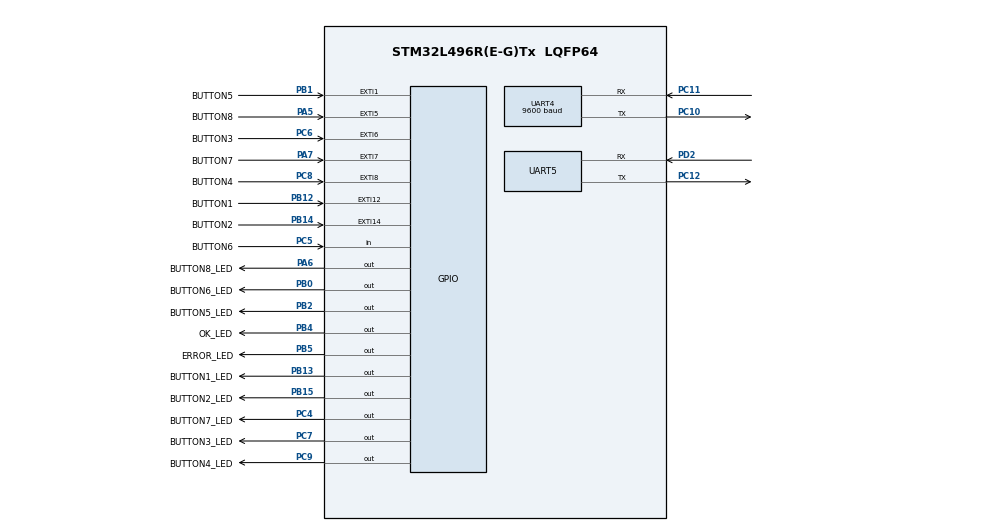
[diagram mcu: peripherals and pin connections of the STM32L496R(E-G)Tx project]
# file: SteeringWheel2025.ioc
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Mcu.Family=STM32L4
Mcu.Name=STM32L496R(E-G)Tx
Mcu.Package=LQFP64
NVIC.EXTI15_10_IRQn=true\:0\:0\:false\:false\:true\:true\:true\:true
NVIC.EXTI1_IRQn=true\:0\:0\:false\:false\:true\:true\:true\:true
NVIC.EXTI9_5_IRQn=true\:0\:0\:false\:false\:true\:true\:true\:true
NVIC.PriorityGroup=NVIC_PRIORITYGROUP_4
PA13\ (JTMS/SWDIO).Mode=Serial_Wire
PA13\ (JTMS/SWDIO).Signal=SYS_JTMS-SWDIO
PA14\ (JTCK/SWCLK).Mode=Serial_Wire
PA14\ (JTCK/SWCLK).Signal=SYS_JTCK-SWCLK
PA5.GPIO_Label=BUTTON8
PA5.GPIO_ModeDefaultEXTI=GPIO_MODE_IT_FALLING
PA5.Signal=GPXTI5
PA6.GPIO_Label=BUTTON8_LED
PA6.Signal=GPIO_Output
PA7.GPIO_Label=BUTTON7
PA7.GPIO_ModeDefaultEXTI=GPIO_MODE_IT_FALLING
PA7.Signal=GPXTI7
PB0.GPIO_Label=BUTTON6_LED
PB0.Signal=GPIO_Output
PB1.GPIO_Label=BUTTON5
PB1.GPIO_ModeDefaultEXTI=GPIO_MODE_IT_FALLING
PB1.Signal=GPXTI1
PB12.GPIO_Label=BUTTON1
PB12.GPIO_ModeDefaultEXTI=GPIO_MODE_IT_FALLING
PB12.Signal=GPXTI12
PB13.GPIO_Label=BUTTON1_LED
PB13.Signal=GPIO_Output
PB14.GPIO_Label=BUTTON2
PB14.GPIO_ModeDefaultEXTI=GPIO_MODE_IT_FALLING
PB14.Signal=GPXTI14
PB15.GPIO_Label=BUTTON2_LED
PB15.Signal=GPIO_Output
PB2.GPIO_Label=BUTTON5_LED
PB2.Signal=GPIO_Output
PB4\ (NJTRST).GPIO_Label=OK_LED
PB4\ (NJTRST).Signal=GPIO_Output
PB5.GPIO_Label=ERROR_LED
PB5.Signal=GPIO_Output
PC10.Mode=Asynchronous
PC10.Signal=UART4_TX
PC11.Mode=Asynchronous
PC11.Signal=UART4_RX
PC12.Mode=Asynchronous
PC12.Signal=UART5_TX
PC4.GPIO_Label=BUTTON7_LED
PC4.Signal=GPIO_Output
PC5.GPIO_Label=BUTTON6
PC5.Signal=GPIO_Input
PC6.GPIO_Label=BUTTON3
PC6.GPIO_ModeDefaultEXTI=GPIO_MODE_IT_FALLING
PC6.Signal=GPXTI6
PC7.GPIO_Label=BUTTON3_LED
PC7.Signal=GPIO_Output
PC8.GPIO_Label=BUTTON4
PC8.GPIO_ModeDefaultEXTI=GPIO_MODE_IT_FALLING
PC8.Signal=GPXTI8
PC9.GPIO_Label=BUTTON4_LED
PC9.Signal=GPIO_Output
PD2.Mode=Asynchronous
PD2.Signal=UART5_RX
ProjectManager.HeapSize=0x200
ProjectManager.StackSize=0x400
ProjectManager.TargetToolchain=STM32CubeIDE
RCC.HSE_VALUE=8000000
RCC.HSI48_VALUE=48000000
RCC.HSI_VALUE=16000000
RCC.LSE_VALUE=32768
RCC.MSI_VALUE=4000000
RCC.VCOOutputFreq_Value=32000000
UART4.BaudRate=9600
board=custom

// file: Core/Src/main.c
/* USER CODE BEGIN Header */
/**
  ******************************************************************************
  * @file           : main.c
  * @brief          : Main program body
  ******************************************************************************
  * @attention
  *
  * Copyright (c) 2025 STMicroelectronics.
  * All rights reserved.
  *
  * This software is licensed under terms that can be found in the LICENSE file
  * in the root directory of this software component.
  * If no LICENSE file comes with this software, it is provided AS-IS.
  *
  ******************************************************************************
  */
/* USER CODE END Header */
#include "main.h"

/* USER CODE BEGIN Includes */
//Testing Push by Sriharsha
/* USER CODE END Includes */

/* USER CODE BEGIN PD */
#define DEBOUNCE_THRESHOLD 50  // Debounce time in ms

/* USER CODE END PD */

UART_HandleTypeDef huart4;
UART_HandleTypeDef huart5;

void SystemClock_Config(void);
static void MX_GPIO_Init(void);
static void MX_UART4_Init(void);
static void MX_UART5_Init(void);

/* USER CODE BEGIN 0 */
volatile uint32_t lastButtonPressTime[8];

uint8_t buttonStates;

uint16_t button_press_init;

uint32_t previousTimes[] = {0,0,0,0,0,0,0,0};
uint32_t currentTime = 0;

uint8_t buttonPressEvents;
/* USER CODE END 0 */

int main(void)
{

  /* USER CODE BEGIN 1 */
  for(int i = 0; i<8; i++){
	  lastButtonPressTime[i] = 0;
  }

  /* USER CODE END 1 */

  /* MCU Configuration--------------------------------------------------------*/

  /* Reset of all peripherals, Initializes the Flash interface and the Systick. */
  HAL_Init();

  /* Configure the system clock */
  SystemClock_Config();

  /* Initialize all configured peripherals */
  MX_GPIO_Init();
  MX_UART4_Init();
  MX_UART5_Init();
  /* USER CODE BEGIN 2 */
  buttonStates = 0b01000000;
  HAL_GPIO_WritePin(BUTTON7_LED_GPIO_Port, BUTTON7_LED_Pin, GPIO_PIN_SET);
  /* USER CODE END 2 */

  /* Infinite loop */
  /* USER CODE BEGIN WHILE */
  while (1)
  {
	HAL_GPIO_TogglePin(OK_LED_GPIO_Port, OK_LED_Pin);

	if(!HAL_GPIO_ReadPin(BUTTON6_GPIO_Port, BUTTON6_Pin)){
		buttonStates |= 0b00100000;
    HAL_GPIO_WritePin(BUTTON6_LED_GPIO_Port, BUTTON6_LED_Pin, GPIO_PIN_SET);
	}else{
		buttonStates &= 0b11011111;
    HAL_GPIO_WritePin(BUTTON6_LED_GPIO_Port, BUTTON6_LED_Pin, GPIO_PIN_RESET);
	}

  if (!HAL_GPIO_ReadPin(BUTTON5_GPIO_Port, BUTTON5_Pin)) { // make ptt / brake debug button a hold
    buttonStates |= 0b00010000;
    HAL_GPIO_WritePin(BUTTON5_LED_GPIO_Port, BUTTON5_LED_Pin, GPIO_PIN_SET);
  } else {
    buttonStates &= 0b11101111;
    HAL_GPIO_WritePin(BUTTON5_LED_GPIO_Port, BUTTON5_LED_Pin, GPIO_PIN_RESET);
  }

	if(HAL_UART_Transmit(&huart4, &buttonStates, 1, 1000) != HAL_OK){
		HAL_GPIO_WritePin(ERROR_LED_GPIO_Port, ERROR_LED_Pin, SET);
	}
	else{
		HAL_GPIO_WritePin(ERROR_LED_GPIO_Port, ERROR_LED_Pin, RESET);
	}

	HAL_Delay(500);
    /* USER CODE END WHILE */

  }
}

void SystemClock_Config(void)
{
  RCC_OscInitTypeDef RCC_OscInitStruct = {0};
  RCC_ClkInitTypeDef RCC_ClkInitStruct = {0};

  /** Configure the main internal regulator output voltage
  */
  if (HAL_PWREx_ControlVoltageScaling(PWR_REGULATOR_VOLTAGE_SCALE1) != HAL_OK)
  {
    Error_Handler();
  }

  /** Initializes the RCC Oscillators according to the specified parameters
  * in the RCC_OscInitTypeDef structure.
  */
  RCC_OscInitStruct.OscillatorType = RCC_OSCILLATORTYPE_MSI;
  RCC_OscInitStruct.MSIState = RCC_MSI_ON;
  RCC_OscInitStruct.MSICalibrationValue = 0;
  RCC_OscInitStruct.MSIClockRange = RCC_MSIRANGE_6;
  RCC_OscInitStruct.PLL.PLLState = RCC_PLL_NONE;
  if (HAL_RCC_OscConfig(&RCC_OscInitStruct) != HAL_OK)
  {
    Error_Handler();
  }

  /** Initializes the CPU, AHB and APB buses clocks
  */
  RCC_ClkInitStruct.ClockType = RCC_CLOCKTYPE_HCLK|RCC_CLOCKTYPE_SYSCLK
                              |RCC_CLOCKTYPE_PCLK1|RCC_CLOCKTYPE_PCLK2;
  RCC_ClkInitStruct.SYSCLKSource = RCC_SYSCLKSOURCE_MSI;
  RCC_ClkInitStruct.AHBCLKDivider = RCC_SYSCLK_DIV1;
  RCC_ClkInitStruct.APB1CLKDivider = RCC_HCLK_DIV1;
  RCC_ClkInitStruct.APB2CLKDivider = RCC_HCLK_DIV1;

  if (HAL_RCC_ClockConfig(&RCC_ClkInitStruct, FLASH_LATENCY_0) != HAL_OK)
  {
    Error_Handler();
  }
}

static void MX_UART4_Init(void)
{

  huart4.Instance = UART4;
  huart4.Init.BaudRate = 9600;
  huart4.Init.WordLength = UART_WORDLENGTH_8B;
  huart4.Init.StopBits = UART_STOPBITS_1;
  huart4.Init.Parity = UART_PARITY_NONE;
  huart4.Init.Mode = UART_MODE_TX_RX;
  huart4.Init.HwFlowCtl = UART_HWCONTROL_NONE;
  huart4.Init.OverSampling = UART_OVERSAMPLING_16;
  huart4.Init.OneBitSampling = UART_ONE_BIT_SAMPLE_DISABLE;
  huart4.AdvancedInit.AdvFeatureInit = UART_ADVFEATURE_NO_INIT;
  if (HAL_UART_Init(&huart4) != HAL_OK)
  {
    Error_Handler();
  }

}

static void MX_UART5_Init(void)
{

  huart5.Instance = UART5;
  huart5.Init.BaudRate = 115200;
  huart5.Init.WordLength = UART_WORDLENGTH_8B;
  huart5.Init.StopBits = UART_STOPBITS_1;
  huart5.Init.Parity = UART_PARITY_NONE;
  huart5.Init.Mode = UART_MODE_TX_RX;
  huart5.Init.HwFlowCtl = UART_HWCONTROL_NONE;
  huart5.Init.OverSampling = UART_OVERSAMPLING_16;
  huart5.Init.OneBitSampling = UART_ONE_BIT_SAMPLE_DISABLE;
  huart5.AdvancedInit.AdvFeatureInit = UART_ADVFEATURE_NO_INIT;
  if (HAL_UART_Init(&huart5) != HAL_OK)
  {
    Error_Handler();
  }

}

static void MX_GPIO_Init(void)
{
  GPIO_InitTypeDef GPIO_InitStruct = {0};

  /* GPIO Ports Clock Enable */
  __HAL_RCC_GPIOA_CLK_ENABLE();
  __HAL_RCC_GPIOC_CLK_ENABLE();
  __HAL_RCC_GPIOB_CLK_ENABLE();
  __HAL_RCC_GPIOD_CLK_ENABLE();

  /*Configure GPIO pin Output Level */
  HAL_GPIO_WritePin(BUTTON8_LED_GPIO_Port, BUTTON8_LED_Pin, GPIO_PIN_RESET);

  /*Configure GPIO pin Output Level */
  HAL_GPIO_WritePin(GPIOC, BUTTON7_LED_Pin|BUTTON3_LED_Pin|BUTTON4_LED_Pin, GPIO_PIN_RESET);

  /*Configure GPIO pin Output Level */
  HAL_GPIO_WritePin(GPIOB, BUTTON6_LED_Pin|BUTTON5_LED_Pin|BUTTON1_LED_Pin|BUTTON2_LED_Pin
                          |OK_LED_Pin|ERROR_LED_Pin, GPIO_PIN_RESET);

  /*Configure GPIO pins : BUTTON8_Pin BUTTON7_Pin */
  GPIO_InitStruct.Pin = BUTTON8_Pin|BUTTON7_Pin;
  GPIO_InitStruct.Mode = GPIO_MODE_IT_FALLING;
  GPIO_InitStruct.Pull = GPIO_NOPULL;
  HAL_GPIO_Init(GPIOA, &GPIO_InitStruct);

  /*Configure GPIO pin : BUTTON8_LED_Pin */
  GPIO_InitStruct.Pin = BUTTON8_LED_Pin;
  GPIO_InitStruct.Mode = GPIO_MODE_OUTPUT_PP;
  GPIO_InitStruct.Pull = GPIO_NOPULL;
  GPIO_InitStruct.Speed = GPIO_SPEED_FREQ_LOW;
  HAL_GPIO_Init(BUTTON8_LED_GPIO_Port, &GPIO_InitStruct);

  /*Configure GPIO pins : BUTTON7_LED_Pin BUTTON3_LED_Pin BUTTON4_LED_Pin */
  GPIO_InitStruct.Pin = BUTTON7_LED_Pin|BUTTON3_LED_Pin|BUTTON4_LED_Pin;
  GPIO_InitStruct.Mode = GPIO_MODE_OUTPUT_PP;
  GPIO_InitStruct.Pull = GPIO_NOPULL;
  GPIO_InitStruct.Speed = GPIO_SPEED_FREQ_LOW;
  HAL_GPIO_Init(GPIOC, &GPIO_InitStruct);

  /*Configure GPIO pin : BUTTON6_Pin */
  GPIO_InitStruct.Pin = BUTTON6_Pin;
  GPIO_InitStruct.Mode = GPIO_MODE_INPUT;
  GPIO_InitStruct.Pull = GPIO_NOPULL;
  HAL_GPIO_Init(BUTTON6_GPIO_Port, &GPIO_InitStruct);

  /*Configure GPIO pins : BUTTON6_LED_Pin BUTTON5_LED_Pin BUTTON1_LED_Pin BUTTON2_LED_Pin
                           OK_LED_Pin ERROR_LED_Pin */
  GPIO_InitStruct.Pin = BUTTON6_LED_Pin|BUTTON5_LED_Pin|BUTTON1_LED_Pin|BUTTON2_LED_Pin
                          |OK_LED_Pin|ERROR_LED_Pin;
  GPIO_InitStruct.Mode = GPIO_MODE_OUTPUT_PP;
  GPIO_InitStruct.Pull = GPIO_NOPULL;
  GPIO_InitStruct.Speed = GPIO_SPEED_FREQ_LOW;
  HAL_GPIO_Init(GPIOB, &GPIO_InitStruct);

  /*Configure GPIO pins : BUTTON5_Pin BUTTON1_Pin BUTTON2_Pin */
  GPIO_InitStruct.Pin = BUTTON5_Pin|BUTTON1_Pin|BUTTON2_Pin;
  GPIO_InitStruct.Mode = GPIO_MODE_IT_FALLING;
  GPIO_InitStruct.Pull = GPIO_NOPULL;
  HAL_GPIO_Init(GPIOB, &GPIO_InitStruct);

  /*Configure GPIO pins : BUTTON3_Pin BUTTON4_Pin */
  GPIO_InitStruct.Pin = BUTTON3_Pin|BUTTON4_Pin;
  GPIO_InitStruct.Mode = GPIO_MODE_IT_FALLING;
  GPIO_InitStruct.Pull = GPIO_NOPULL;
  HAL_GPIO_Init(GPIOC, &GPIO_InitStruct);

  /* EXTI interrupt init*/
  HAL_NVIC_SetPriority(EXTI1_IRQn, 0, 0);
  HAL_NVIC_EnableIRQ(EXTI1_IRQn);

  HAL_NVIC_SetPriority(EXTI9_5_IRQn, 0, 0);
  HAL_NVIC_EnableIRQ(EXTI9_5_IRQn);

  HAL_NVIC_SetPriority(EXTI15_10_IRQn, 0, 0);
  HAL_NVIC_EnableIRQ(EXTI15_10_IRQn);

}

/* USER CODE BEGIN 4 */
void HAL_GPIO_EXTI_Callback(uint16_t GPIO_Pin)
{
	uint32_t currentTime;

	if (GPIO_Pin == BUTTON1_Pin) { /// fan
		currentTime = HAL_GetTick();

	    if ((currentTime - lastButtonPressTime[0]) > DEBOUNCE_THRESHOLD) {
	    	lastButtonPressTime[0] = currentTime;  // Update last press time

	        if (HAL_GPIO_ReadPin(BUTTON1_GPIO_Port, BUTTON1_Pin) == GPIO_PIN_RESET) {
	          buttonStates ^= 0b00000001;
	        }

          if (buttonStates & 0b00000001)
        	  HAL_GPIO_WritePin(BUTTON1_LED_GPIO_Port, BUTTON1_LED_Pin, GPIO_PIN_SET);
          else
        	  HAL_GPIO_WritePin(BUTTON1_LED_GPIO_Port, BUTTON1_LED_Pin, GPIO_PIN_RESET);

	    }
	}
	if (GPIO_Pin == BUTTON2_Pin) { // display
		currentTime = HAL_GetTick();

		if ((currentTime - lastButtonPressTime[1]) > DEBOUNCE_THRESHOLD) {
			lastButtonPressTime[1] = currentTime;  // Update last press time

		    if (HAL_GPIO_ReadPin(BUTTON2_GPIO_Port, BUTTON2_Pin) == GPIO_PIN_RESET) {
		    	buttonStates ^= 0b00000010;
		    }

          if (buttonStates & 0b00000010)
        	  HAL_GPIO_WritePin(BUTTON2_LED_GPIO_Port, BUTTON2_LED_Pin, GPIO_PIN_SET);
          else
        	  HAL_GPIO_WritePin(BUTTON2_LED_GPIO_Port, BUTTON2_LED_Pin, GPIO_PIN_RESET);
		}
	}

	if (GPIO_Pin == BUTTON3_Pin) { // hazards
		currentTime = HAL_GetTick();

		if ((currentTime - lastButtonPressTime[2]) > DEBOUNCE_THRESHOLD) {
			lastButtonPressTime[2] = currentTime;  // Update last press time

			if (HAL_GPIO_ReadPin(BUTTON3_GPIO_Port, BUTTON3_Pin) == GPIO_PIN_RESET) {
				buttonStates ^= 0b00000100;
        buttonStates &= 0b11110111; // turn off left turn
        buttonStates &= 0b01111111; // turn off right turn
			}

          if (buttonStates & 0b00000100) {
        	  HAL_GPIO_WritePin(BUTTON3_LED_GPIO_Port, BUTTON3_LED_Pin, GPIO_PIN_SET);
            // turn off left and right turn lights
            HAL_GPIO_WritePin(BUTTON4_LED_GPIO_Port, BUTTON4_LED_Pin, GPIO_PIN_RESET);
            HAL_GPIO_WritePin(BUTTON8_LED_GPIO_Port, BUTTON8_LED_Pin, GPIO_PIN_RESET);
          }
          else
        	  HAL_GPIO_WritePin(BUTTON3_LED_GPIO_Port, BUTTON3_LED_Pin, GPIO_PIN_RESET);
		}
	}

	if (GPIO_Pin == BUTTON4_Pin) { // left turn
		currentTime = HAL_GetTick();

		if ((currentTime - lastButtonPressTime[3]) > DEBOUNCE_THRESHOLD) {
			lastButtonPressTime[3] = currentTime;  // Update last press time

			if (HAL_GPIO_ReadPin(BUTTON4_GPIO_Port, BUTTON4_Pin) == GPIO_PIN_RESET) {
				buttonStates ^= 0b00001000;
				buttonStates &= 0b01111111; // turn off right turn
        buttonStates &= 0b11111011; // turn off hazards
			}

          if (buttonStates & 0b00001000) {
        	  HAL_GPIO_WritePin(BUTTON4_LED_GPIO_Port, BUTTON4_LED_Pin, GPIO_PIN_SET);
            // turn off right turn light
            HAL_GPIO_WritePin(BUTTON8_LED_GPIO_Port, BUTTON8_LED_Pin, GPIO_PIN_RESET);
            // turn off hazards
            HAL_GPIO_WritePin(BUTTON3_LED_GPIO_Port, BUTTON3_LED_Pin, GPIO_PIN_RESET);
          }
          else
        	  HAL_GPIO_WritePin(BUTTON4_LED_GPIO_Port, BUTTON4_LED_Pin, GPIO_PIN_RESET);
		}
	}

	if (GPIO_Pin == BUTTON7_Pin) { // headlights
		currentTime = HAL_GetTick();

		if ((currentTime - lastButtonPressTime[6]) > DEBOUNCE_THRESHOLD) {
			lastButtonPressTime[6] = currentTime;  // Update last press time

			if (HAL_GPIO_ReadPin(BUTTON7_GPIO_Port, BUTTON7_Pin) == GPIO_PIN_RESET) {
				buttonStates ^= 0b01000000;

			}
          if (buttonStates & 0b01000000)
        	  HAL_GPIO_WritePin(BUTTON7_LED_GPIO_Port, BUTTON7_LED_Pin, GPIO_PIN_SET);
          else
        	  HAL_GPIO_WritePin(BUTTON7_LED_GPIO_Port, BUTTON7_LED_Pin, GPIO_PIN_RESET);
		}
	}

	if (GPIO_Pin == BUTTON8_Pin) { // right turn
		currentTime = HAL_GetTick();

		if ((currentTime - lastButtonPressTime[7]) > DEBOUNCE_THRESHOLD) {
			lastButtonPressTime[7] = currentTime;  // Update last press time

			if (HAL_GPIO_ReadPin(BUTTON8_GPIO_Port, BUTTON8_Pin) == GPIO_PIN_RESET) {
				buttonStates ^= 0b10000000;
				buttonStates &= 0b11110111; // turn of left turn
        buttonStates &= 0b11111011; // turn off hazards
			}
          if (buttonStates & 0b10000000) {
        	  HAL_GPIO_WritePin(BUTTON8_LED_GPIO_Port, BUTTON8_LED_Pin, GPIO_PIN_SET);
            // turn off left turn light
            HAL_GPIO_WritePin(BUTTON4_LED_GPIO_Port, BUTTON4_LED_Pin, GPIO_PIN_RESET);
            // turn off hazards
            HAL_GPIO_WritePin(BUTTON3_LED_GPIO_Port, BUTTON3_LED_Pin, GPIO_PIN_RESET);
          }
          else
        	  HAL_GPIO_WritePin(BUTTON8_LED_GPIO_Port, BUTTON8_LED_Pin, GPIO_PIN_RESET);
		}
	}

}
/* USER CODE END 4 */

void Error_Handler(void)
{
  __disable_irq();
  while (1)
  {
  }
}
